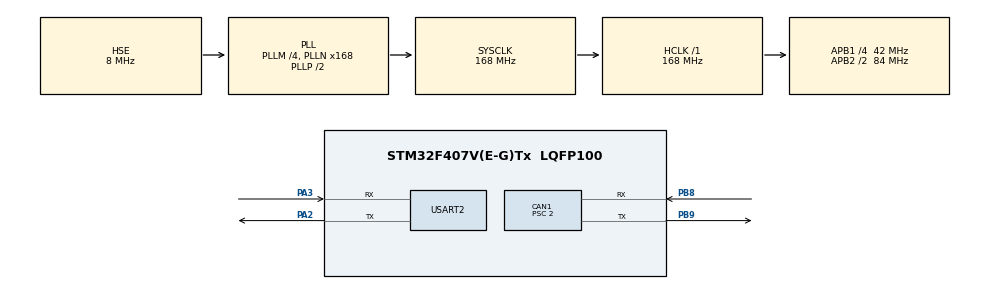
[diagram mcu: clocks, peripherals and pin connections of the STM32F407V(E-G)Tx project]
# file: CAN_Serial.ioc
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CAN1.BS1=CAN_BS1_13TQ
CAN1.BS2=CAN_BS2_7TQ
CAN1.CalculateTimeQuantum=47.61904761904762
CAN1.Prescaler=2
CAN1.RFLM=DISABLE
Dma.Request0=USART2_TX
Dma.USART2_TX.0.Direction=DMA_MEMORY_TO_PERIPH
Dma.USART2_TX.0.FIFOMode=DMA_FIFOMODE_DISABLE
Dma.USART2_TX.0.Instance=DMA1_Stream6
Dma.USART2_TX.0.MemDataAlignment=DMA_MDATAALIGN_BYTE
Dma.USART2_TX.0.MemInc=DMA_MINC_ENABLE
Dma.USART2_TX.0.Mode=DMA_NORMAL
Dma.USART2_TX.0.PeriphDataAlignment=DMA_PDATAALIGN_BYTE
Dma.USART2_TX.0.PeriphInc=DMA_PINC_DISABLE
Dma.USART2_TX.0.Priority=DMA_PRIORITY_LOW
Mcu.Family=STM32F4
Mcu.Name=STM32F407V(E-G)Tx
Mcu.Package=LQFP100
NVIC.CAN1_RX0_IRQn=true\:2\:0\:true\:false\:true\:true\:true
NVIC.DMA1_Stream6_IRQn=true\:0\:0\:false\:false\:true\:false\:true
NVIC.PriorityGroup=NVIC_PRIORITYGROUP_4
NVIC.USART2_IRQn=true\:1\:0\:true\:false\:true\:true\:true
PA13.Mode=Serial_Wire
PA13.Signal=SYS_JTMS-SWDIO
PA14.Mode=Serial_Wire
PA14.Signal=SYS_JTCK-SWCLK
PA2.Mode=Asynchronous
PA2.Signal=USART2_TX
PA3.Mode=Asynchronous
PA3.Signal=USART2_RX
PB8.Mode=Master
PB8.Signal=CAN1_RX
PB9.Mode=Master
PB9.Signal=CAN1_TX
PH0-OSC_IN.Mode=HSE-External-Oscillator
PH0-OSC_IN.Signal=RCC_OSC_IN
PH1-OSC_OUT.Mode=HSE-External-Oscillator
PH1-OSC_OUT.Signal=RCC_OSC_OUT
ProjectManager.HeapSize=0x200
ProjectManager.StackSize=0x400
ProjectManager.TargetToolchain=MDK-ARM V5
RCC.48MHZClocksFreq_Value=84000000
RCC.AHBFreq_Value=168000000
RCC.APB1CLKDivider=RCC_HCLK_DIV4
RCC.APB1Freq_Value=42000000
RCC.APB1TimFreq_Value=84000000
RCC.APB2CLKDivider=RCC_HCLK_DIV2
RCC.APB2Freq_Value=84000000
RCC.APB2TimFreq_Value=168000000
RCC.CortexFreq_Value=168000000
RCC.HCLKFreq_Value=168000000
RCC.HSE_VALUE=8000000
RCC.HSI_VALUE=16000000
RCC.LSE_VALUE=32768
RCC.PLLM=4
RCC.PLLN=168
RCC.PLLSourceVirtual=RCC_PLLSOURCE_HSE
RCC.SYSCLKFreq_VALUE=168000000
RCC.SYSCLKSource=RCC_SYSCLKSOURCE_PLLCLK
RCC.VCOOutputFreq_Value=336000000
USART2.VirtualMode=VM_ASYNC
board=custom

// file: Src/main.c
/* USER CODE BEGIN Header */
/**
  ******************************************************************************
  * @file           : main.c
  * @brief          : Main program body
  ******************************************************************************
  * @attention
  *
  * <h2><center>&copy; Copyright (c) 2021 STMicroelectronics.
  * All rights reserved.</center></h2>
  *
  * This software component is licensed by ST under BSD 3-Clause license,
  * the "License"; You may not use this file except in compliance with the
  * License. You may obtain a copy of the License at:
  *                        opensource.org/licenses/BSD-3-Clause
  *
  ******************************************************************************
  */
/* USER CODE END Header */

#include "main.h"

/* USER CODE BEGIN Includes */
#include <string.h>
#include <stdlib.h>
#include <stdbool.h>

#include "CAN_Qt.h"
/* USER CODE END Includes */

CAN_HandleTypeDef hcan1;

UART_HandleTypeDef huart2;
DMA_HandleTypeDef hdma_usart2_tx;

/* USER CODE BEGIN PV */

static CAN_TxHeaderTypeDef CANTxh;
static CAN_RxHeaderTypeDef CANRxh;
uint32_t CAN_stdid;
uint32_t txmailbox;

	typedef struct {

		uint16_t ID;
		uint8_t data[8];
		uint8_t DLC;
	} canTxData_t;

CAN_param_t CAN_param;

/* USER CODE END PV */

void SystemClock_Config(void);
static void MX_GPIO_Init(void);
static void MX_DMA_Init(void);
static void MX_CAN1_Init(void);
static void MX_USART2_UART_Init(void);
/* USER CODE BEGIN PFP */

void SendUARTCanMsg(char*);
void ProcessUCMsg(void);
void ProcessUCFilter(void);
void ProcessCANconf(CAN_param_t* CAN_param, uint8_t* tx_buf);

/* USER CODE END PFP */

/* USER CODE BEGIN 0 */

	uint8_t canRxDataBuf[8];
	uint8_t canTxbuf[30];
	char canUmsg[24];
	uint16_t nowePasmoCAN;
	volatile bool toSendCAN = false;
	volatile bool toSendUART = false;
	volatile bool newFilter = false;
	volatile bool deactFilter = false;

	canTxData_t canTxData;
	uint32_t CANfilter[4]  = {0x300, 0x301, 0x302, 0x303};

/* USER CODE END 0 */

int main(void)
{
  /* USER CODE BEGIN 1 */
	CANTxh.IDE = CAN_ID_STD;
	CANTxh.DLC = 8;
	CANTxh.RTR = CAN_RTR_DATA;
  /* USER CODE END 1 */

  /* MCU Configuration--------------------------------------------------------*/

  /* Reset of all peripherals, Initializes the Flash interface and the Systick. */
  HAL_Init();

  /* Configure the system clock */
  SystemClock_Config();

  /* Initialize all configured peripherals */
  MX_GPIO_Init();
  MX_DMA_Init();
  MX_CAN1_Init();
  MX_USART2_UART_Init();
  /* USER CODE BEGIN 2 */
	CAN_param.pasmoCAN = false;

  CAN_filterConfig(CANfilter);
	HAL_CAN_ActivateNotification(&hcan1, CAN_IT_RX_FIFO0_MSG_PENDING);
	HAL_CAN_ActivateNotification(&hcan1, CAN_IT_RX_FIFO0_FULL);
	HAL_CAN_Start(&hcan1);
	HAL_UART_Receive_IT(&huart2, canTxbuf, 22);

  /* USER CODE END 2 */

  /* Infinite loop */
  /* USER CODE BEGIN WHILE */
  while (1)
  {
//		if((hcan1.Instance->RF0R & CAN_RF0R_FMP0) > 0 ){
//			HAL_CAN_GetRxMessage(&hcan1, CAN_RX_FIFO0, &CANRxh, canRxDataBuf);
//			toSendUART = true;
//		}
		if(toSendCAN){
			//Dodaj DLC do CANTxh
			CANTxh.StdId = canTxData.ID;
			HAL_CAN_AddTxMessage(&hcan1, &CANTxh, canTxData.data, &txmailbox);
			toSendCAN = false; // do zmiany do przerwania cantxcplt
		}
		if(toSendUART){
			toSendUART = false;
			SendUARTCanMsg(canUmsg);
		}
		if(newFilter){
			CANFilterActivate(0, false); //wylacza filtr 0
			CAN_filterConfig(CANfilter);
			newFilter = false;
		}
		if(deactFilter){
			CANFilterActivate(1, false); //wylacza filtr 1
			CANFilterActivate(0, true); //wlacza filtr 0 akceptujacy wszystko
			deactFilter = 0;
		}
		if(CAN_param.pasmoCAN){
			CAN_Speed_Change(&CAN_param);
		}

    /* USER CODE END WHILE */

  }
}

void SystemClock_Config(void)
{
  RCC_OscInitTypeDef RCC_OscInitStruct = {0};
  RCC_ClkInitTypeDef RCC_ClkInitStruct = {0};

  /** Configure the main internal regulator output voltage
  */
  __HAL_RCC_PWR_CLK_ENABLE();
  __HAL_PWR_VOLTAGESCALING_CONFIG(PWR_REGULATOR_VOLTAGE_SCALE1);
  /** Initializes the CPU, AHB and APB busses clocks
  */
  RCC_OscInitStruct.OscillatorType = RCC_OSCILLATORTYPE_HSE;
  RCC_OscInitStruct.HSEState = RCC_HSE_ON;
  RCC_OscInitStruct.PLL.PLLState = RCC_PLL_ON;
  RCC_OscInitStruct.PLL.PLLSource = RCC_PLLSOURCE_HSE;
  RCC_OscInitStruct.PLL.PLLM = 4;
  RCC_OscInitStruct.PLL.PLLN = 168;
  RCC_OscInitStruct.PLL.PLLP = RCC_PLLP_DIV2;
  RCC_OscInitStruct.PLL.PLLQ = 4;
  if (HAL_RCC_OscConfig(&RCC_OscInitStruct) != HAL_OK)
  {
    Error_Handler();
  }
  /** Initializes the CPU, AHB and APB busses clocks
  */
  RCC_ClkInitStruct.ClockType = RCC_CLOCKTYPE_HCLK|RCC_CLOCKTYPE_SYSCLK
                              |RCC_CLOCKTYPE_PCLK1|RCC_CLOCKTYPE_PCLK2;
  RCC_ClkInitStruct.SYSCLKSource = RCC_SYSCLKSOURCE_PLLCLK;
  RCC_ClkInitStruct.AHBCLKDivider = RCC_SYSCLK_DIV1;
  RCC_ClkInitStruct.APB1CLKDivider = RCC_HCLK_DIV4;
  RCC_ClkInitStruct.APB2CLKDivider = RCC_HCLK_DIV2;

  if (HAL_RCC_ClockConfig(&RCC_ClkInitStruct, FLASH_LATENCY_5) != HAL_OK)
  {
    Error_Handler();
  }
}

static void MX_CAN1_Init(void)
{

  /* USER CODE BEGIN CAN1_Init 1 */
	//2 = 1000   4 = 500    8 = 250    16 = 125 kbps
  /* USER CODE END CAN1_Init 1 */
  hcan1.Instance = CAN1;
  hcan1.Init.Prescaler = 8;
  hcan1.Init.Mode = CAN_MODE_NORMAL;
  hcan1.Init.SyncJumpWidth = CAN_SJW_1TQ;
  hcan1.Init.TimeSeg1 = CAN_BS1_13TQ;
  hcan1.Init.TimeSeg2 = CAN_BS2_7TQ;
  hcan1.Init.TimeTriggeredMode = DISABLE;
  hcan1.Init.AutoBusOff = DISABLE;
  hcan1.Init.AutoWakeUp = DISABLE;
  hcan1.Init.AutoRetransmission = DISABLE;
  hcan1.Init.ReceiveFifoLocked = DISABLE;
  hcan1.Init.TransmitFifoPriority = DISABLE;
  if (HAL_CAN_Init(&hcan1) != HAL_OK)
  {
    Error_Handler();
  }

}

static void MX_USART2_UART_Init(void)
{

  huart2.Instance = USART2;
  huart2.Init.BaudRate = 115200;
  huart2.Init.WordLength = UART_WORDLENGTH_8B;
  huart2.Init.StopBits = UART_STOPBITS_1;
  huart2.Init.Parity = UART_PARITY_NONE;
  huart2.Init.Mode = UART_MODE_TX_RX;
  huart2.Init.HwFlowCtl = UART_HWCONTROL_NONE;
  huart2.Init.OverSampling = UART_OVERSAMPLING_16;
  if (HAL_UART_Init(&huart2) != HAL_OK)
  {
    Error_Handler();
  }

}

static void MX_DMA_Init(void)
{
  /* DMA controller clock enable */
  __HAL_RCC_DMA1_CLK_ENABLE();

  /* DMA interrupt init */
  /* DMA1_Stream6_IRQn interrupt configuration */
  HAL_NVIC_SetPriority(DMA1_Stream6_IRQn, 0, 0);
  HAL_NVIC_EnableIRQ(DMA1_Stream6_IRQn);

}

static void MX_GPIO_Init(void)
{

  /* GPIO Ports Clock Enable */
  __HAL_RCC_GPIOH_CLK_ENABLE();
  __HAL_RCC_GPIOA_CLK_ENABLE();
  __HAL_RCC_GPIOB_CLK_ENABLE();

}

/* USER CODE BEGIN 4 */

void HAL_CAN_RxFifo0MsgPendingCallback(CAN_HandleTypeDef *hcan)
{
	HAL_CAN_GetRxMessage(&hcan1, CAN_RX_FIFO0, &CANRxh, canRxDataBuf);
	toSendUART = true;
}

void HAL_CAN_RxFifo0FullCallback(CAN_HandleTypeDef *hcan)
{
	CLEAR_BIT(hcan->Instance->RF0R, CAN_RF0R_FULL0);
	SET_BIT(hcan->Instance->RF0R, CAN_RF0R_RFOM0);
	HAL_GetTick();
	SET_BIT(hcan->Instance->RF0R, CAN_RF0R_RFOM0);
	HAL_GetTick();
	SET_BIT(hcan->Instance->RF0R, CAN_RF0R_RFOM0);
}

void HAL_UART_RxCpltCallback(UART_HandleTypeDef *huart)
{

	if('M' == canTxbuf[0] && ';' == canTxbuf[21]){
		ProcessUCMsg();
	}
	if('F' == canTxbuf[0] && ';' == canTxbuf[21]){
		ProcessUCFilter();
	}
	if('P' == canTxbuf[0] && ';' == canTxbuf[21]){
		ProcessCANconf(&CAN_param, canTxbuf);
	}
	HAL_UART_Receive_IT(&huart2, canTxbuf, 22);

}

void HAL_UART_TxCpltCallback(UART_HandleTypeDef *huart)
{

}

void SendUARTCanMsg(char* msg)
{
  sprintf(msg, "M%3x,%02x%02x%02x%02x%02x%02x%02x%02x;\r\n", CANRxh.StdId,
					canRxDataBuf[0], canRxDataBuf[1], canRxDataBuf[2], canRxDataBuf[3],
					canRxDataBuf[4], canRxDataBuf[5], canRxDataBuf[6], canRxDataBuf[7]);
	HAL_UART_Transmit_DMA(&huart2, (uint8_t*)msg, 24);
}

void ProcessUCMsg(void)
{
	char tmp[4];
	char *pEnd;
	strncpy(tmp, (char*)&canTxbuf[1], 3);
	canTxData.ID = (int)strtol(tmp, &pEnd, 16);

	for(int i=0; i<8; i++){
		strncpy(tmp, (char*)&canTxbuf[2*i+5], 2);
		tmp[2] = '\0';
		canTxData.data[i] = (int)strtol(tmp, &pEnd, 16);
	}
	toSendCAN = true;
}

void ProcessUCFilter(void)
{
	char tmp[4];
	char *pEnd;

	if('D' == canTxbuf[1]){
		deactFilter = true;
	}
	else if('C' == canTxbuf[1]){
		for(int i=0; i<4; i++){
			strncpy(tmp, (char*)&canTxbuf[3*i+5], 3);
			tmp[3] = '\0';
			CANfilter[i] = (int)strtol(tmp, &pEnd, 16);
		}
		newFilter = true;
	}

}

void ProcessCANconf(CAN_param_t* CAN_param, uint8_t* tx_buf)
{
	char tmp[4];
	strncpy(tmp, (char*)&tx_buf[5], 3);

	CAN_param->prescalerCAN = (uint8_t) (2000 / ((int)atoi(tmp)));
	CAN_param->pasmoCAN = true;
}

/* USER CODE END 4 */

void Error_Handler(void)
{
}

/************************ (C) COPYRIGHT STMicroelectronics *****END OF FILE****/
